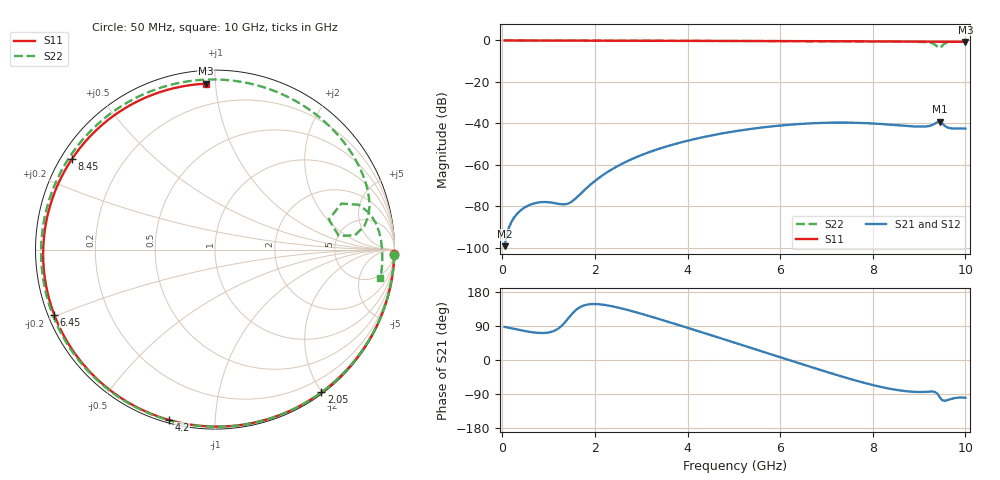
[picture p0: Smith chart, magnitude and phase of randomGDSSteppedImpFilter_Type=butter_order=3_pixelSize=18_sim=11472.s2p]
! freq	dB(S11)	phase(S11)	dB(S12)	phase(S12)
!  dB(S21)	phase(S21)	dB(S22)	phase(S22)
!S-par simulation data
#  GHz  S  DB  R 50
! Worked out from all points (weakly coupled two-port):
!   200 points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, 50 MHz to 10 GHz, reference 50 ohm
!   highest |S21| = -39.17 dB at 9.45 GHz (marker M1); lowest = -99.3 dB at 50 MHz (marker M2)
!   lowest |S11| = -0.7 dB at 10 GHz (marker M3), VSWR 25.74, Z = 3.67 + j47.1 ohm
!   |S11| at or under -10 dB: nowhere
!   |S22| runs from -3.7 to 0.0 dB; largest |S21 - S12| = 0
!   S11 on the Smith chart (normalised r, x): 50 MHz: 2, -85; 2.05 GHz: 0.02, -1.99; 4.2 GHz: 0.01, -0.77; 6.45 GHz: 0.02, -0.19; 8.45 GHz: 0.03, +0.29; 10 GHz: 0.07, +0.94
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0.05  -0.00 -1.4  -99.26 87.2  -99.26 87.2  -0.00 -1.8
0.5  -0.02 -13.3  -80.38 76.1  -80.38 76.1  -0.02 -17.5
0.7  -0.02 -18.6  -78.56 72.4  -78.56 72.4  -0.03 -24.5
1.4  -0.05 -36.8  -78.84 106.2  -78.84 106.2  -0.06 -48.4
1.75  -0.06 -45.7  -72.72 143.4  -72.72 143.4  -0.08 -60.2
2.05  -0.07 -53.3  -66.93 147.5  -66.93 147.5  -0.09 -70.1
2.65  -0.09 -68.2  -58.79 133.8  -58.79 133.8  -0.11 -89.6
3.4  -0.11 -86.3  -52.16 107.6  -52.16 107.6  -0.15 -113.5
4.2  -0.15 -105.1  -47.33 77.3  -47.33 77.3  -0.19 -138.9
5.05  -0.19 -124.9  -43.72 44.4  -43.72 44.4  -0.25 -166.6
5.75  -0.24 -141.2  -41.63 17.1  -41.63 17.1  -0.30 169.2
6.45  -0.30 -158.0  -40.26 -10.2  -40.26 -10.2  -0.36 143.0
6.7  -0.32 -164.2  -39.95 -19.8  -39.95 -19.8  -0.38 133.0
7.55  -0.40 173.8  -39.68 -51.3  -39.68 -51.3  -0.45 96.7
8.35  -0.50 150.8  -40.59 -75.5  -40.59 -75.5  -0.52 59.4
8.45  -0.51 147.7  -40.76 -77.7  -40.76 -77.7  -0.54 54.6
9.15  -0.59 124.7  -41.48 -84.0  -41.48 -84.0  -0.86 18.7
9.35  -0.61 117.7  -40.04 -84.8  -40.04 -84.8  -2.11 5.9
9.45  -0.62 114.1  -39.17 -98.9  -39.17 -98.9  -3.66 14.9
9.5  -0.63 112.2  -40.06 -106.2  -40.06 -106.2  -2.50 20.0
9.65  -0.64 106.7  -42.24 -104.3  -42.24 -104.3  -0.84 9.5
10  -0.68 93.2  -42.51 -99.6  -42.51 -99.6  -0.58 -9.6
